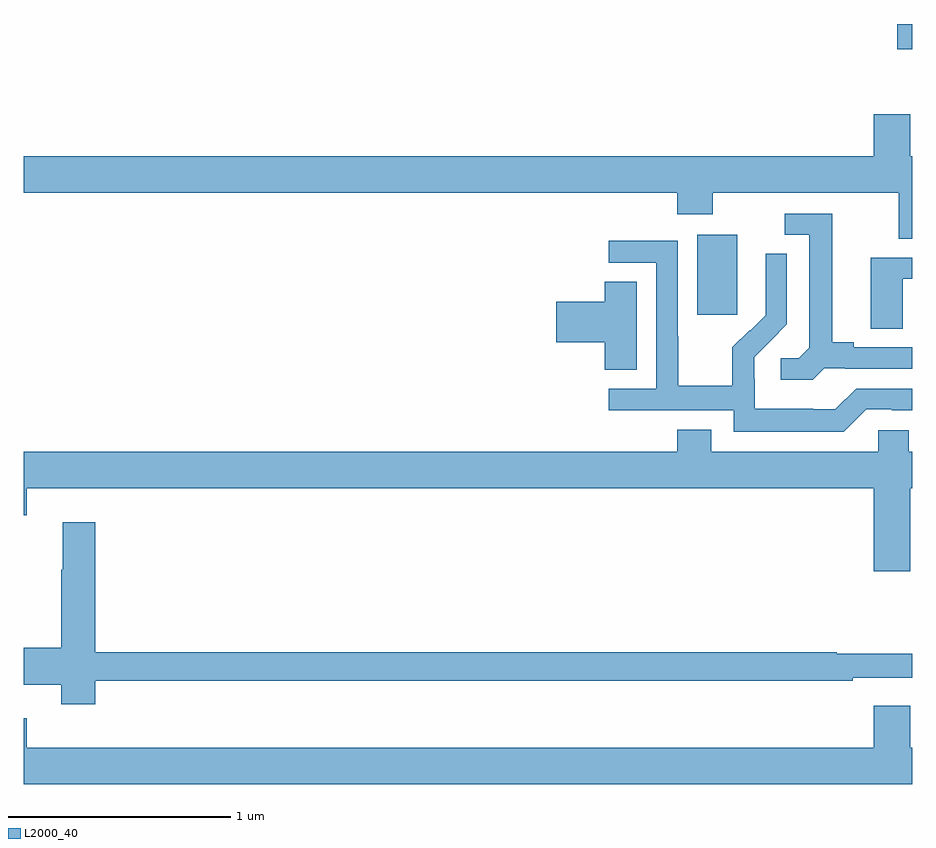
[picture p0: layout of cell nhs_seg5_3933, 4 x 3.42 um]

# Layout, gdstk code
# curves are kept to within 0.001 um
import gdstk
lib = gdstk.Library(unit=1e-6, precision=1e-09)
def R(c, l, rs):  # rectangles x0, y0, x1, y1
    for r in rs: c.add(gdstk.rectangle(r[:2], r[2:], *l))
def P(c, l, *ps):  # polygons
    for p in ps: c.add(gdstk.Polygon(p, *l))
L2000_40 = (2000, 40)

nhs_seg5_3933 = lib.new_cell('nhs_seg5_3933')
R(nhs_seg5_3933, L2000_40, [(344.033,909.489,344.212,909.85), (344.934,910.685,345,910.799)])
P(nhs_seg5_3933, L2000_40, [(345,910.204),(344.992,910.204),(344.992,910.393),(344.828,910.393),(344.828,910.204),(341,910.204),(341,910.04),(343.943,910.04),(343.943,909.941),(344.103,909.941),(344.103,910.04),(344.939,910.04),(344.939,909.832),(345,909.832)],
  [(344.604,909.249),(344.698,909.249),(344.698,909.246),(345,909.246),(345,909.342),(344.737,909.342),(344.737,909.365),(344.641,909.365),(344.641,909.945),(344.427,909.945),(344.427,909.849),(344.537,909.849),(344.537,909.341),(344.49,909.294),(344.409,909.294),(344.409,909.197),(344.552,909.197)],
  [(344.793,909.063),(344.909,909.063),(344.909,909.06),(345,909.06),(345,909.156),(344.748,909.156),(344.655,909.063),(344.555,909.063),(344.555,909.067),(344.292,909.067),(344.292,909.201),(344.29,909.201),(344.29,909.298),(344.436,909.446),(344.436,909.764),(344.34,909.764),(344.34,909.61),(344.342,909.61),(344.342,909.488),(344.271,909.417),(344.268,909.42),(344.191,909.343),(344.191,909.169),(343.947,909.169),(343.947,909.392),(343.944,909.392),(343.944,909.822),(343.635,909.822),(343.635,909.723),(343.848,909.723),(343.848,909.156),(343.635,909.156),(343.635,909.06),(344.196,909.06),(344.196,908.963),(344.693,908.963)],
  [(344.958,909.651),(345,909.651),(345,909.747),(344.813,909.747),(344.813,909.427),(344.958,909.427)],
  [(343.759,909.638),(343.616,909.638),(343.616,909.548),(343.398,909.548),(343.398,909.365),(343.616,909.365),(343.616,909.241),(343.759,909.241)],
  [(344.992,908.708),(345,908.708),(345,908.872),(344.985,908.872),(344.985,908.97),(344.847,908.97),(344.847,908.872),(344.095,908.872),(344.095,908.971),(343.943,908.971),(343.943,908.872),(341,908.872),(341,908.586),(341.012,908.586),(341.012,908.708),(344.828,908.708),(344.828,908.334),(344.992,908.334)],
  [(341.321,907.842),(344.732,907.842),(344.732,907.854),(345,907.854),(345,907.963),(344.66,907.963),(344.66,907.97),(341.321,907.97),(341.321,908.554),(341.174,908.554),(341.174,908.341),(341.167,908.341),(341.167,907.989),(341,907.989),(341,907.823),(341.167,907.823),(341.167,907.736),(341.321,907.736)],
  [(345,907.54),(344.992,907.54),(344.992,907.729),(344.828,907.729),(344.828,907.54),(341.012,907.54),(341.012,907.673),(341,907.673),(341,907.376),(345,907.376)])

lib.write_gds('nhs_seg5_3933.gds')
